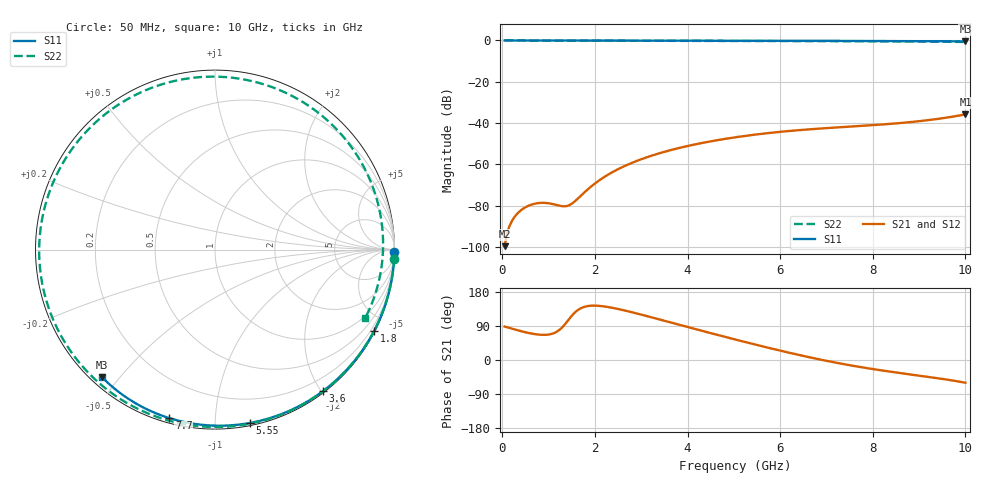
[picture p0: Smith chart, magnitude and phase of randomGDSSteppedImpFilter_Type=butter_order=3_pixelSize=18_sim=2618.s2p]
! freq	dB(S11)	phase(S11)	dB(S12)	phase(S12)
!  dB(S21)	phase(S21)	dB(S22)	phase(S22)
!S-par simulation data
#  GHz  S  DB  R 50
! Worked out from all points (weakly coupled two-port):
!   200 points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, 50 MHz to 10 GHz, reference 50 ohm
!   highest |S21| = -35.83 dB at 10 GHz (marker M1); lowest = -99.7 dB at 50 MHz (marker M2)
!   lowest |S11| = -0.4 dB at 10 GHz (marker M3), VSWR 38.66, Z = 1.56 - j22.5 ohm
!   |S11| at or under -10 dB: nowhere
!   |S22| runs from -0.7 to 0.0 dB; largest |S21 - S12| = 0
!   S11 on the Smith chart (normalised r, x): 50 MHz: open; 1.8 GHz: 0.04, -4.17; 3.6 GHz: 0.02, -2.02; 5.55 GHz: 0.02, -1.22; 7.7 GHz: 0.02, -0.77; 10 GHz: 0.03, -0.45
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0.05  -0.00 -0.8  -99.68 88.2  -99.68 88.2  -0.00 -2.9
0.45  -0.01 -6.8  -81.51 74.7  -81.51 74.7  -0.04 -25.7
0.95  -0.02 -14.3  -78.76 66.5  -78.76 66.5  -0.07 -53.0
1.45  -0.03 -21.8  -79.77 109.2  -79.77 109.2  -0.09 -78.2
1.75  -0.03 -26.2  -74.11 139.3  -74.11 139.3  -0.10 -92.2
1.8  -0.03 -27.0  -73.07 141.1  -73.07 141.1  -0.11 -94.5
2.1  -0.04 -31.3  -67.68 142.8  -67.68 142.8  -0.12 -107.6
2.45  -0.05 -36.4  -62.95 135.9  -62.95 135.9  -0.13 -121.9
2.9  -0.06 -42.9  -58.41 122.9  -58.41 122.9  -0.14 -139.1
3.4  -0.07 -49.9  -54.61 106.9  -54.61 106.9  -0.15 -156.9
3.6  -0.07 -52.7  -53.35 100.3  -53.35 100.3  -0.16 -163.7
4.3  -0.09 -62.3  -49.73 77.4  -49.73 77.4  -0.19 173.2
5.05  -0.11 -72.2  -46.87 53.5  -46.87 53.5  -0.22 149.3
5.55  -0.13 -78.7  -45.38 38.1  -45.38 38.1  -0.25 133.2
6.15  -0.15 -86.3  -43.96 20.5  -43.96 20.5  -0.28 113.7
6.7  -0.18 -93.1  -42.94 5.4  -42.94 5.4  -0.31 95.2
7.2  -0.21 -99.2  -42.18 -7.0  -42.18 -7.0  -0.35 77.9
7.7  -0.24 -105.1  -41.48 -18.0  -41.48 -18.0  -0.38 60.1
8.35  -0.29 -112.7  -40.47 -30.3  -40.47 -30.3  -0.44 36.4
8.8  -0.33 -117.9  -39.59 -38.0  -39.59 -38.0  -0.49 19.7
9.2  -0.36 -122.5  -38.60 -44.6  -38.60 -44.6  -0.55 5.0
10  -0.45 -131.5  -35.83 -60.1  -35.83 -60.1  -0.73 -24.3
